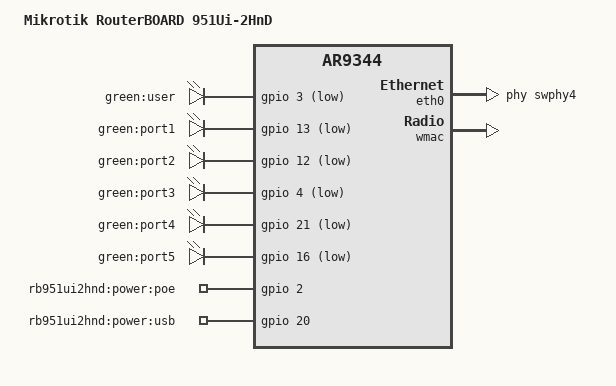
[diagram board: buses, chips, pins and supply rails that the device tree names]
// SPDX-License-Identifier: GPL-2.0-or-later OR MIT

#include "ar9344_mikrotik_routerboard-951x-2hnd.dtsi"

/ {
	compatible = "mikrotik,routerboard-951ui-2hnd", "qca,ar9344";
	model = "Mikrotik RouterBOARD 951Ui-2HnD";

	/delete-node/ leds;

	leds {
		compatible = "gpio-leds";

		led_user: user {
			label = "green:user";
			gpios = <&gpio 3 GPIO_ACTIVE_LOW>;
		};

		port1 {
			label = "green:port1";
			gpios = <&gpio 13 GPIO_ACTIVE_LOW>;
		};

		port2 {
			label = "green:port2";
			gpios = <&gpio 12 GPIO_ACTIVE_LOW>;
		};

		port3 {
			label = "green:port3";
			gpios = <&gpio 4 GPIO_ACTIVE_LOW>;
		};

		port4 {
			label = "green:port4";
			gpios = <&gpio 21 GPIO_ACTIVE_LOW>;
		};

		port5 {
			label = "green:port5";
			gpios = <&gpio 16 GPIO_ACTIVE_LOW>;
		};
	};

	gpio-export {
		compatible = "gpio-export";

		gpio_poe_power {
			gpio-export,name = "rb951ui2hnd:power:poe";
			gpio-export,output = <1>;
			gpios = <&gpio 2 GPIO_ACTIVE_HIGH>;
		};

		gpio_usb_power {
			gpio-export,name = "rb951ui2hnd:power:usb";
			gpio-export,output = <1>;
			gpios = <&gpio 20 GPIO_ACTIVE_HIGH>;
		};
	};
};

&eth0 {
	phy-handle = <&swphy4>;

	/delete-node/ gmac-config;
};

&eth1 {
	compatible = "qca,ar9340-eth", "syscon";
};

&wmac {
	qca,led-pin = /bits/ 8 <11>;
};
